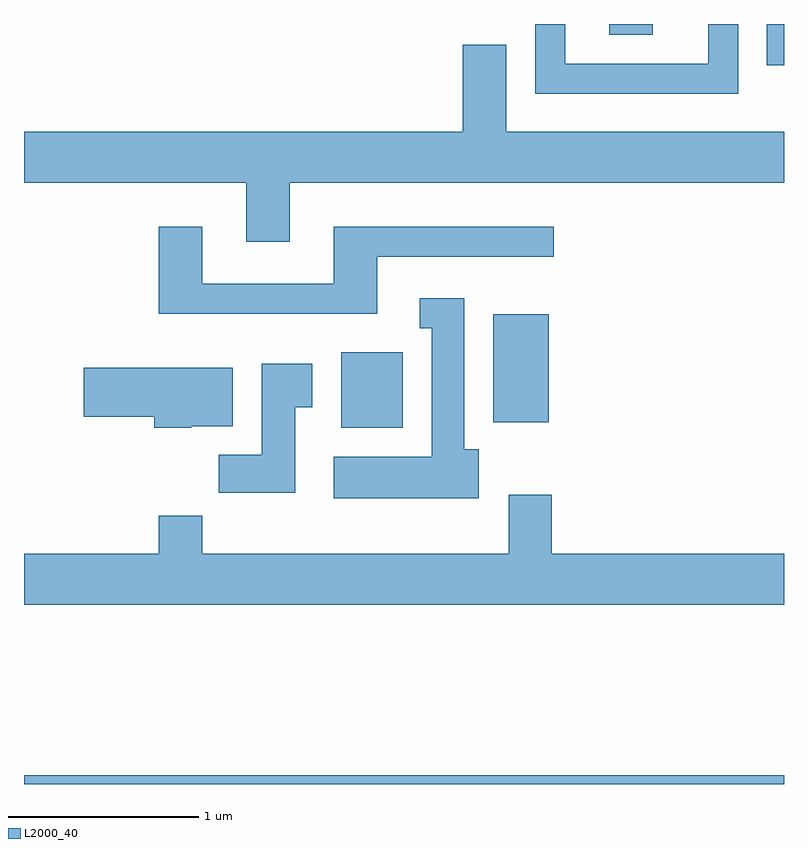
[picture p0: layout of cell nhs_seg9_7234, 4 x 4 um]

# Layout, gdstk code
import gdstk
lib = gdstk.Library(unit=1e-6, precision=1e-09)
def R(c, l, rs):  # rectangles x0, y0, x1, y1
    for r in rs: c.add(gdstk.rectangle(r[:2], r[2:], *l))
def P(c, l, *ps):  # polygons
    for p in ps: c.add(gdstk.Polygon(p, *l))
L2000_40 = (2000, 40)

nhs_seg9_7234 = lib.new_cell('nhs_seg9_7234')
R(nhs_seg9_7234, L2000_40, [(399.611,1986.432,403.611,1986.479), (401.281,1988.306,401.604,1988.704), (402.081,1988.336,402.374,1988.904), (403.521,1990.216,403.611,1990.432), (402.691,1990.376,402.919,1990.432)])
P(nhs_seg9_7234, L2000_40, [(403.369,1990.432),(403.211,1990.432),(403.211,1990.224),(402.459,1990.224),(402.459,1990.432),(402.301,1990.432),(402.301,1990.066),(403.369,1990.066)],
  [(401.009,1989.596),(403.611,1989.596),(403.611,1989.864),(402.149,1989.864),(402.149,1990.324),(401.921,1990.324),(401.921,1989.864),(399.611,1989.864),(399.611,1989.596),(400.781,1989.596),(400.781,1989.286),(401.009,1989.286)],
  [(401.469,1989.206),(402.398,1989.206),(402.398,1989.364),(401.241,1989.364),(401.241,1989.064),(400.549,1989.064),(400.549,1989.364),(400.321,1989.364),(400.321,1988.906),(401.469,1988.906)],
  [(402.004,1988.194),(401.929,1988.194),(401.929,1988.989),(401.693,1988.989),(401.693,1988.831),(401.756,1988.831),(401.756,1988.154),(401.241,1988.154),(401.241,1987.936),(402.004,1987.936)],
  [(401.039,1988.416),(401.129,1988.416),(401.129,1988.644),(400.861,1988.644),(400.861,1988.164),(400.636,1988.164),(400.636,1987.966),(401.039,1987.966)],
  [(400.49,1988.316),(400.709,1988.316),(400.709,1988.624),(399.926,1988.624),(399.926,1988.366),(400.296,1988.366),(400.296,1988.306),(400.49,1988.306)],
  [(403.611,1987.644),(402.389,1987.644),(402.389,1987.954),(402.161,1987.954),(402.161,1987.644),(400.549,1987.644),(400.549,1987.844),(400.321,1987.844),(400.321,1987.644),(399.611,1987.644),(399.611,1987.376),(403.611,1987.376)])

lib.write_gds('nhs_seg9_7234.gds')
